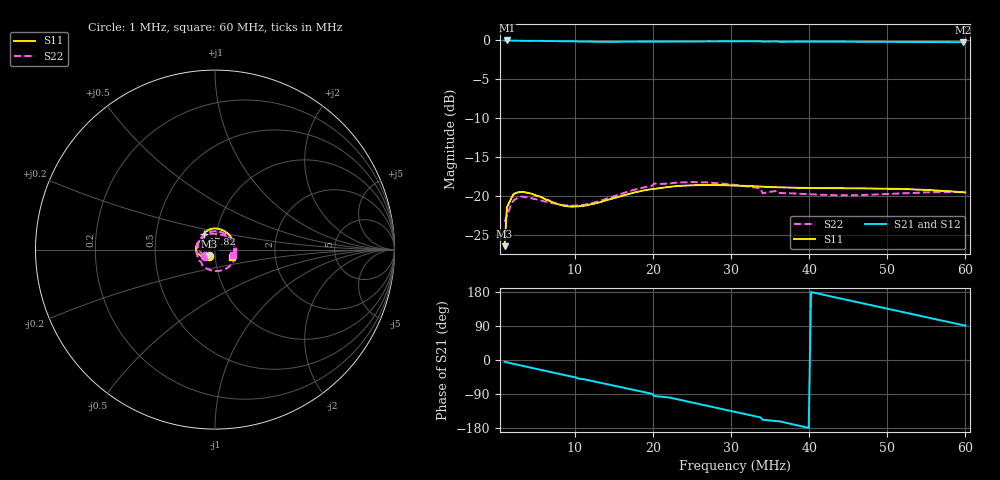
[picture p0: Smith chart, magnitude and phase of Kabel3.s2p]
#  HZ  S  DB  R  50.00
! Rohde & Schwarz ZVT8 8Ports - Version 4.11 - 1300.0000k08 SN: 100242
! Date: 2024-03-13 12:59:55
! Measurements: S11 S21 S12 S22
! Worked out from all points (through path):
!   201 points, 1 MHz to 60 MHz, reference 50 ohm
!   highest |S21| = -0.10 dB at 1.295 MHz (marker M1); lowest = -0.3 dB at 59.7 MHz (marker M2)
!   group delay of S21, straight-line fit = 12.4 ns
!   lowest |S11| = -26.4 dB at 1 MHz (marker M3), VSWR 1.10, Z = 46.8 - j3.42 ohm
!   |S11| at or under -10 dB: start of sweep to end of sweep
!   |S22| runs from -23.3 to -18.2 dB; largest |S21 - S12| = 0.029
!   S11 on the Smith chart (normalised r, x): 1 MHz: 0.94, -0.07; 17.82 MHz: 0.87, +0.15; 60 MHz: 1.21, -0.11
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1000000  -26.37 -130.6  -0.12 -4.9  0.04 -5.2  -23.26 -147.1
1295000  -21.42 -153.6  -0.10 -6.3  0.02 -6.6  -22.50 -160.2
1885000  -20.17 -166.8  -0.12 -9.1  0.01 -9.3  -20.91 -176.6
3065000  -19.45 175.4  -0.15 -14.5  -0.03 -14.8  -20.05 157.1
6900000  -20.66 148.6  -0.18 -31.8  -0.10 -32.1  -20.83 105.9
1.103e7  -21.23 142.7  -0.24 -50.3  -0.16 -50.6  -21.09 73.1
1.7815e7  -19.47 126.8  -0.27 -80.2  -0.20 -80.3  -19.11 20.1
1.988e7  -19.08 119.1  -0.26 -89.3  -0.19 -89.4  -18.66 1.7
2.0175e7  -19.06 118.1  -0.27 -95.2  -0.19 -93.6  -18.37 1.6
2.0765e7  -18.96 115.8  -0.26 -96.3  -0.18 -95.2  -18.41 -4.4
2.1945e7  -18.81 111.1  -0.26 -98.6  -0.18 -98.7  -18.38 -17.0
2.5485e7  -18.58 96.6  -0.23 -114.3  -0.16 -114.3  -18.20 -49.8
3.05e7  -18.63 75.6  -0.21 -136.8  -0.13 -136.9  -18.55 -97.5
3.3745e7  -18.76 62.1  -0.21 -151.4  -0.14 -151.5  -18.98 -129.1
3.404e7  -18.78 60.8  -0.25 -157.6  -0.17 -157.1  -19.62 -136.6
3.6105e7  -18.86 52.4  -0.27 -161.4  -0.21 -161.6  -19.57 -152.9
4.053e7  -18.95 35.5  -0.25 178.0  -0.17 178.0  -19.76 163.0
4.4955e7  -18.98 20.0  -0.26 158.0  -0.18 157.9  -19.87 119.4
5.0265e7  -19.04 3.5  -0.29 134.3  -0.21 134.2  -19.68 69.2
5.4985e7  -19.18 -10.0  -0.31 113.1  -0.24 113.0  -19.51 26.3
5.9705e7  -19.49 -23.6  -0.32 92.0  -0.25 91.9  -19.49 -14.4
6e7  -19.51 -24.4  -0.32 90.7  -0.25 90.6  -19.49 -16.9
